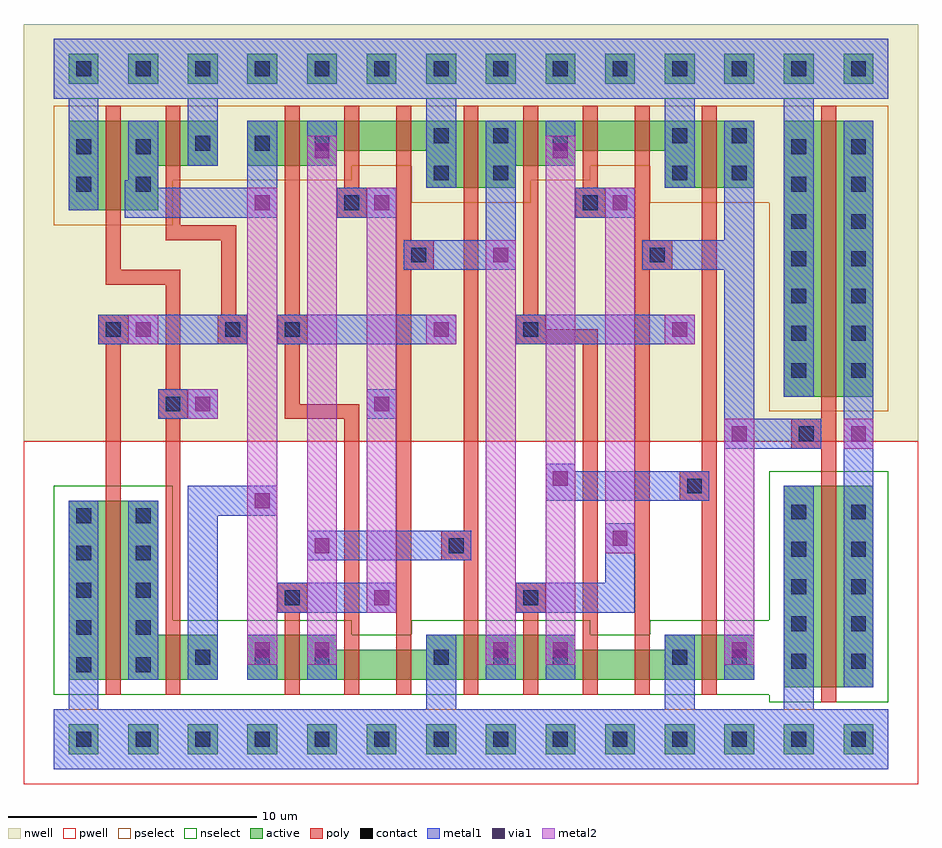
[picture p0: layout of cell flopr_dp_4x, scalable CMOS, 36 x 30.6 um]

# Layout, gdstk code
import gdstk
lib = gdstk.Library(unit=1e-6, precision=1e-09)
def R(c, l, rs):  # rectangles x0, y0, x1, y1
    for r in rs: c.add(gdstk.rectangle(r[:2], r[2:], *l))
def A(c, l, x, y, w, h, nx, ny, dx, dy):  # array of equal rectangles
    R(c, l, [(x+i*dx, y+j*dy, x+i*dx+w, y+j*dy+h) for i in range(nx) for j in range(ny)])
contact = (25, 0)
pwell = (41, 0)
nwell = (42, 0)
active = (43, 0)
pselect = (44, 0)
nselect = (45, 0)
poly = (46, 0)
metal1 = (49, 0)
via1 = (50, 0)
metal2 = (51, 0)

flopr_dp_4x = lib.new_cell('flopr_dp_4x')
A(flopr_dp_4x, contact, 9.9, -0.3, 0.6, 0.6, 14, 2, 2.4, 27)
A(flopr_dp_4x, contact, 9.9, 2.7, 0.6, 0.6, 1, 5, 0, 1.5)
A(flopr_dp_4x, contact, 12.3, 2.7, 0.6, 0.6, 1, 5, 0, 1.5)
A(flopr_dp_4x, contact, 38.7, 2.85, 0.6, 0.6, 1, 5, 0, 1.5)
A(flopr_dp_4x, contact, 41.1, 2.85, 0.6, 0.6, 1, 5, 0, 1.5)
A(flopr_dp_4x, contact, 14.7, 3, 0.6, 0.6, 3, 2, 2.4, 20.7)
A(flopr_dp_4x, contact, 24.3, 3, 0.6, 0.6, 3, 1, 2.4, 0)
A(flopr_dp_4x, contact, 38.7, 14.55, 0.6, 0.6, 1, 7, 0, 1.5)
A(flopr_dp_4x, contact, 41.1, 14.55, 0.6, 0.6, 1, 7, 0, 1.5)
R(flopr_dp_4x, contact, [(33.9,3,34.5,3.6), (36.3,3,36.9,3.6), (18.3,5.4,18.9,6), (27.9,5.4,28.5,6), (24.9,7.5,25.5,8.1), (34.5,9.9,35.1,10.5), (39,12,39.6,12.6), (13.5,13.2,14.1,13.8), (11.1,16.2,11.7,16.8), (15.9,16.2,16.5,16.8), (18.3,16.2,18.9,16.8), (27.9,16.2,28.5,16.8), (23.4,19.2,24,19.8), (33,19.2,33.6,19.8), (20.7,21.3,21.3,21.9), (30.3,21.3,30.9,21.9), (9.9,22.05,10.5,22.65), (12.3,22.05,12.9,22.65), (24.3,22.5,24.9,23.1), (26.7,22.5,27.3,23.1), (33.9,22.5,34.5,23.1), (36.3,22.5,36.9,23.1), (9.9,23.55,10.5,24.15), (12.3,23.55,12.9,24.15), (29.1,23.7,29.7,24.3), (24.3,24,24.9,24.6), (26.7,24,27.3,24.6), (33.9,24,34.5,24.6), (36.3,24,36.9,24.6)])
A(flopr_dp_4x, pwell, 8.7, -1.5, 3, 3, 14, 1, 2.4, 0)
A(flopr_dp_4x, pwell, 12.6, 0.6, 4.8, 5.4, 3, 1, 2.4, 0)
A(flopr_dp_4x, pwell, 22.2, 0.6, 4.8, 5.4, 3, 1, 2.4, 0)
R(flopr_dp_4x, pwell, [(7.8,-1.8,43.8,12), (36.6,0.3,41.4,12), (37.2,0.3,43.2,12), (39,0.3,43.8,12), (7.8,0.6,12.6,11.4), (8.4,0.6,14.4,11.4), (10.2,0.6,15,11.4), (10.8,0.6,16.8,6), (15.6,0.6,21.6,6), (18,0.6,24,5.4), (20.1,0.6,26.1,5.4), (22.8,0.6,28.8,6), (25.2,0.6,31.2,6), (27.6,0.6,33.6,5.4), (29.7,0.6,35.7,5.4), (31.8,0.6,36.6,6), (32.4,0.6,38.4,6), (34.2,0.6,39,6), (17.475,0.75,22.125,5.25), (19.725,0.75,24.375,5.25), (21.975,0.75,26.85,5.25), (27.075,0.75,31.725,5.25), (29.325,0.75,33.975,5.25), (31.575,0.9,36.45,5.4), (17.475,1.05,22.05,5.55), (24.675,1.05,29.25,5.55), (24.675,1.05,29.325,5.55), (27.075,1.05,31.65,5.55), (15.15,1.35,19.725,5.85), (31.95,1.35,36.525,5.85), (34.275,1.35,38.85,5.85), (10.35,1.5,14.925,6), (12.675,1.5,17.25,6), (22.35,1.5,26.925,6), (36.75,1.5,41.325,6), (39.075,1.5,43.65,6), (7.95,3.75,12.525,8.25), (10.275,4.05,14.85,8.55)])
A(flopr_dp_4x, nwell, 12.6, 21.3, 4.8, 5.4, 3, 1, 2.4, 0)
A(flopr_dp_4x, nwell, 8.7, 25.5, 3, 3, 14, 1, 2.4, 0)
R(flopr_dp_4x, nwell, [(7.8,12,43.8,28.8), (36.6,12,41.4,26.7), (37.2,12,43.2,26.7), (39,12,43.8,26.7), (7.8,19.5,12.6,26.7), (8.4,19.5,14.4,26.7), (10.2,19.5,15,26.7), (22.2,20.4,27,26.7), (22.8,20.4,28.8,26.7), (24.6,20.4,29.4,26.7), (31.8,20.4,36.6,26.7), (32.4,20.4,38.4,26.7), (34.2,20.4,39,26.7), (36.75,20.4,41.325,24.9), (39.075,20.532,43.65,25.032), (7.95,20.55,12.525,25.05), (10.2,21,14.775,25.5), (34.275,21.15,38.85,25.65), (10.35,21.3,14.925,25.8), (10.8,21.3,16.8,26.7), (12.675,21.3,17.25,25.8), (15.6,21.3,21.6,26.7), (24.675,21.3,29.325,25.8), (25.2,21.3,31.2,26.7), (27,21.3,31.8,26.7), (24.675,21.75,29.25,26.25), (27.075,21.75,31.65,26.25), (18,21.9,24,26.7), (20.1,21.9,26.1,26.7), (21.975,21.9,26.925,26.4), (24.75,21.9,29.325,26.4), (27.6,21.9,33.6,26.7), (29.7,21.9,35.7,26.7), (31.575,21.9,36.525,26.4), (17.475,22.05,22.05,26.55), (19.725,22.05,24.375,26.55), (21.975,22.05,26.85,26.55), (27.075,22.05,31.725,26.55), (29.325,22.05,33.975,26.55), (31.575,22.05,36.45,26.55), (15.15,22.2,19.725,26.7), (17.475,22.2,22.125,26.7)])
A(flopr_dp_4x, active, 9.6, -0.6, 1.2, 1.2, 14, 2, 2.4, 27)
A(flopr_dp_4x, active, 14.4, 2.4, 1.2, 1.8, 3, 2, 2.4, 20.7)
A(flopr_dp_4x, active, 24, 2.4, 1.2, 1.8, 3, 1, 2.4, 0)
R(flopr_dp_4x, active, [(38.4,2.1,39.6,10.2), (39,2.1,41.4,10.2), (40.8,2.1,42,10.2), (9.6,2.4,10.8,9.6), (10.2,2.4,12.6,9.6), (12,2.4,13.2,9.6), (12.6,2.4,15,4.2), (17.4,2.4,19.8,4.2), (19.8,2.4,22.2,3.6), (21.9,2.4,24.3,3.6), (24.6,2.4,27,4.2), (27,2.4,29.4,4.2), (29.4,2.4,31.8,3.6), (31.5,2.4,33.9,3.6), (33.6,2.4,34.8,4.2), (34.2,2.4,36.6,4.2), (36,2.4,37.2,4.2), (19.275,2.55,20.325,3.45), (21.525,2.55,22.575,3.45), (23.775,2.55,25.05,3.45), (28.875,2.55,29.925,3.45), (31.125,2.55,32.175,3.45), (33.375,2.7,34.65,3.6), (19.275,2.85,20.25,3.75), (26.475,2.85,27.45,3.75), (26.475,2.85,27.525,3.75), (28.875,2.85,29.85,3.75), (16.95,3.15,17.925,4.05), (33.75,3.15,34.725,4.05), (36.075,3.15,37.05,4.05), (12.15,3.3,13.125,4.2), (14.475,3.3,15.45,4.2), (24.15,3.3,25.125,4.2), (38.55,3.3,39.525,4.2), (40.875,3.3,41.85,4.2), (9.75,5.55,10.725,6.45), (12.075,5.85,13.05,6.75), (38.4,13.8,39.6,24.9), (39,13.8,41.4,24.9), (40.8,13.8,42,24.9), (9.6,21.3,10.8,24.9), (10.2,21.3,12.6,24.9), (12,21.3,13.2,24.9), (24,22.2,25.2,24.9), (24.6,22.2,27,24.9), (26.4,22.2,27.6,24.9), (33.6,22.2,34.8,24.9), (34.2,22.2,36.6,24.9), (36,22.2,37.2,24.9), (38.55,22.2,39.525,23.1), (40.875,22.332,41.85,23.232), (9.75,22.35,10.725,23.25), (12,22.8,12.975,23.7), (36.075,22.95,37.05,23.85), (12.15,23.1,13.125,24), (12.6,23.1,15,24.9), (14.475,23.1,15.45,24), (17.4,23.1,19.8,24.9), (26.475,23.1,27.525,24), (27,23.1,29.4,24.9), (28.8,23.1,30,24.9), (26.475,23.55,27.45,24.45), (28.875,23.55,29.85,24.45), (19.8,23.7,22.2,24.9), (21.9,23.7,24.3,24.9), (23.775,23.7,25.125,24.6), (26.55,23.7,27.525,24.6), (29.4,23.7,31.8,24.9), (31.5,23.7,33.9,24.9), (33.375,23.7,34.725,24.6), (19.275,23.85,20.25,24.75), (21.525,23.85,22.575,24.75), (23.775,23.85,25.05,24.75), (28.875,23.85,29.925,24.75), (31.125,23.85,32.175,24.75), (33.375,23.85,34.65,24.75), (16.95,24,17.925,24.9), (19.275,24,20.325,24.9)])
A(flopr_dp_4x, pselect, 9, -1.2, 2.4, 2.4, 14, 1, 2.4, 0)
A(flopr_dp_4x, pselect, 13.8, 22.5, 2.4, 3, 3, 1, 2.4, 0)
R(flopr_dp_4x, pselect, [(37.8,13.2,40.2,25.5), (38.4,13.2,42,25.5), (40.2,13.2,42.6,25.5), (9,20.7,11.4,25.5), (9.6,20.7,13.2,25.5), (11.4,20.7,13.8,25.5), (23.4,21.6,25.8,25.5), (24,21.6,27.6,25.5), (25.8,21.6,28.2,25.5), (33,21.6,35.4,25.5), (33.6,21.6,37.2,25.5), (35.4,21.6,37.8,25.5), (37.95,21.6,40.125,23.7), (40.275,21.732,42.45,23.832), (9.15,21.75,11.325,23.85), (11.4,22.2,13.575,24.3), (35.475,22.35,37.65,24.45), (11.55,22.5,13.725,24.6), (12,22.5,15.6,25.5), (13.875,22.5,16.05,24.6), (16.8,22.5,20.4,25.5), (25.875,22.5,28.125,24.6), (26.4,22.5,30,25.5), (28.2,22.5,30.6,25.5), (25.875,22.95,28.05,25.05), (28.275,22.95,30.45,25.05), (19.2,23.1,22.8,25.5), (21.3,23.1,24.9,25.5), (23.175,23.1,25.725,25.2), (25.95,23.1,28.125,25.2), (28.8,23.1,32.4,25.5), (30.9,23.1,34.5,25.5), (32.775,23.1,35.325,25.2), (18.675,23.25,20.85,25.35), (20.925,23.25,23.175,25.35), (23.175,23.25,25.65,25.35), (28.275,23.25,30.525,25.35), (30.525,23.25,32.775,25.35), (32.775,23.25,35.25,25.35), (16.35,23.4,18.525,25.5), (18.675,23.4,20.925,25.5)])
A(flopr_dp_4x, nselect, 13.8, 1.8, 2.4, 3, 3, 1, 2.4, 0)
A(flopr_dp_4x, nselect, 23.4, 1.8, 2.4, 3, 3, 1, 2.4, 0)
A(flopr_dp_4x, nselect, 9, 25.8, 2.4, 2.4, 14, 1, 2.4, 0)
R(flopr_dp_4x, nselect, [(37.8,1.5,40.2,10.8), (38.4,1.5,42,10.8), (40.2,1.5,42.6,10.8), (9,1.8,11.4,10.2), (9.6,1.8,13.2,10.2), (11.4,1.8,13.8,10.2), (12,1.8,15.6,4.8), (16.8,1.8,20.4,4.8), (19.2,1.8,22.8,4.2), (21.3,1.8,24.9,4.2), (24,1.8,27.6,4.8), (26.4,1.8,30,4.8), (28.8,1.8,32.4,4.2), (30.9,1.8,34.5,4.2), (33,1.8,35.4,4.8), (33.6,1.8,37.2,4.8), (35.4,1.8,37.8,4.8), (18.675,1.95,20.925,4.05), (20.925,1.95,23.175,4.05), (23.175,1.95,25.65,4.05), (28.275,1.95,30.525,4.05), (30.525,1.95,32.775,4.05), (32.775,2.1,35.25,4.2), (18.675,2.25,20.85,4.35), (25.875,2.25,28.05,4.35), (25.875,2.25,28.125,4.35), (28.275,2.25,30.45,4.35), (16.35,2.55,18.525,4.65), (33.15,2.55,35.325,4.65), (35.475,2.55,37.65,4.65), (11.55,2.7,13.725,4.8), (13.875,2.7,16.05,4.8), (23.55,2.7,25.725,4.8), (37.95,2.7,40.125,4.8), (40.275,2.7,42.45,4.8), (9.15,4.95,11.325,7.05), (11.475,5.25,13.65,7.35)])
R(flopr_dp_4x, poly, [(39.9,1.5,40.5,10.8), (11.1,1.8,11.7,10.2), (13.5,1.8,14.1,4.8), (18.3,1.8,18.9,4.8), (20.7,1.8,21.3,4.2), (22.8,1.8,23.4,4.2), (25.5,1.8,26.1,4.8), (27.9,1.8,28.5,4.8), (30.3,1.8,30.9,4.2), (32.4,1.8,33,4.2), (35.1,1.8,35.7,4.8), (20.7,3.9,21.3,13.5), (22.8,3.9,23.4,19.8), (30.3,3.9,30.9,16.5), (32.4,3.9,33,19.8), (13.5,4.5,14.1,13.8), (18.3,4.5,18.9,6), (25.5,4.5,26.1,8.1), (27.9,4.5,28.5,6), (35.1,4.5,35.7,10.5), (18,5.1,19.2,6.3), (27.6,5.1,28.8,6.3), (24.6,7.2,25.8,8.4), (24.9,7.5,26.1,8.1), (25.5,7.5,26.1,21.9), (34.2,9.6,35.4,10.8), (11.1,9.9,11.7,16.8), (34.5,9.9,35.7,10.5), (35.1,9.9,35.7,21.9), (39.9,10.5,40.5,12.6), (38.7,11.7,39.9,12.9), (39,12,40.5,12.6), (39.9,12,40.5,13.5), (13.2,12.9,14.4,14.1), (18.3,12.9,21.3,13.5), (18.3,12.9,18.9,16.8), (18.3,12.9,18.9,22.8), (13.5,13.2,14.1,18.9), (39.9,13.2,40.5,25.5), (10.8,15.9,12,17.1), (15.6,15.9,16.8,17.1), (18,15.9,19.2,17.1), (27.6,15.9,28.8,17.1), (27.9,15.9,30.9,16.5), (27.9,15.9,28.5,16.8), (15.75,16.2,16.35,20.7), (27.9,16.2,28.5,22.8), (11.1,18.3,11.7,21), (11.1,18.3,14.1,18.9), (23.1,18.9,24.3,20.1), (32.7,18.9,33.9,20.1), (22.8,19.2,24,19.8), (22.8,19.2,23.4,23.4), (32.4,19.2,33.6,19.8), (32.4,19.2,33,23.4), (13.5,20.1,14.1,22.8), (13.5,20.1,16.35,20.7), (11.1,20.7,11.7,25.5), (20.4,21,21.6,22.2), (30,21,31.2,22.2), (20.7,21.3,21.3,23.4), (30.3,21.3,30.9,23.4), (25.5,21.6,26.1,25.5), (35.1,21.6,35.7,25.5), (13.5,22.5,14.1,25.5), (18.3,22.5,18.9,25.5), (27.9,22.5,28.5,25.5), (20.7,23.1,21.3,25.5), (22.8,23.1,23.4,25.5), (30.3,23.1,30.9,25.5), (32.4,23.1,33,25.5)])
A(flopr_dp_4x, metal1, 9, -1.2, 4.8, 2.4, 6, 1, 2.4, 0)
A(flopr_dp_4x, metal1, 21, -1.2, 4.8, 2.4, 8, 1, 2.4, 0)
A(flopr_dp_4x, metal1, 9.6, -0.6, 1.2, 1.2, 13, 1, 2.4, 0)
A(flopr_dp_4x, metal1, 14.4, 2.4, 1.2, 1.8, 3, 2, 2.4, 20.7)
A(flopr_dp_4x, metal1, 24, 2.4, 1.2, 1.8, 3, 1, 2.4, 0)
A(flopr_dp_4x, metal1, 14.4, 23.7, 1.2, 3.9, 3, 1, 9.6, 0)
A(flopr_dp_4x, metal1, 11.4, 25.8, 4.8, 2.4, 5, 1, 2.4, 0)
A(flopr_dp_4x, metal1, 28.2, 25.8, 4.8, 2.4, 5, 1, 2.4, 0)
A(flopr_dp_4x, metal1, 9.6, 26.4, 1.2, 1.2, 11, 1, 2.4, 0)
A(flopr_dp_4x, metal1, 33.6, 26.4, 1.2, 1.2, 3, 1, 2.4, 0)
R(flopr_dp_4x, metal1, [(13.8,-1.2,16.8,1.2), (18.6,-1.2,33,1.2), (23.4,-1.2,34.2,1.2), (33.6,-0.9,34.8,0.6), (33.6,-0.9,34.8,3.6), (24,-0.6,25.2,3.6), (38.4,-0.6,39.6,0.6), (40.8,-0.6,42,0.6), (9.6,-0.45,10.8,3.6), (38.4,-0.45,39.6,3.6), (38.4,2.1,39.6,10.2), (40.8,2.1,42,10.2), (9.6,2.4,10.8,9.6), (12,2.4,13.2,9.6), (33.6,2.4,34.8,4.2), (36,2.4,37.2,4.2), (19.2,2.7,20.4,4.2), (16.8,3,18,4.2), (16.8,3,18,4.2), (19.2,3,20.4,4.2), (26.4,3,27.6,4.2), (26.4,3,27.6,4.2), (28.8,3,30,4.2), (28.8,3,30,4.2), (36,3,37.2,4.2), (36,3,37.2,4.2), (14.4,3.15,15.6,10.2), (18,5.1,19.2,6.3), (18,5.1,22.8,6.3), (21.6,5.1,22.8,6.3), (27.6,5.1,28.8,6.3), (27.6,5.1,32.4,6.3), (31.2,5.1,32.4,8.7), (19.2,7.2,20.4,8.4), (19.2,7.2,25.8,8.4), (24.6,7.2,25.8,8.4), (31.2,7.5,32.4,8.7), (14.4,9,18,10.2), (16.8,9,18,10.2), (40.8,9.15,42,12.9), (28.8,9.6,35.4,10.8), (34.2,9.6,35.4,10.8), (28.8,9.9,30,11.1), (36,11.7,37.2,12.9), (36,11.7,37.2,20.1), (36.3,11.7,39.9,12.9), (38.7,11.7,39.9,12.9), (40.8,11.7,42,12.9), (40.8,11.7,42,23.1), (13.2,12.9,14.4,14.1), (13.2,12.9,15.6,14.1), (14.4,12.9,15.6,14.1), (21.6,12.9,22.8,14.1), (38.4,13.8,39.6,24.9), (40.8,13.8,42,24.9), (10.8,15.9,12,17.1), (10.8,15.9,13.2,17.1), (10.8,15.9,16.65,17.1), (12,15.9,13.2,17.1), (15.6,15.9,16.8,17.1), (18,15.9,19.2,17.1), (18,15.9,24.9,17.1), (24,15.9,25.2,17.1), (27.6,15.9,28.8,17.1), (27.6,15.9,34.8,17.1), (33.6,15.9,34.8,17.1), (23.1,18.9,24.3,20.1), (23.1,18.9,27.6,20.1), (26.4,18.9,27.6,20.1), (26.4,18.9,27.6,23.25), (32.7,18.9,33.9,20.1), (32.7,18.9,37.2,20.1), (36,18.9,37.2,23.25), (11.85,21,18,22.2), (11.85,21,13.05,22.5), (16.8,21,18,22.2), (16.8,21,18,24.15), (20.4,21,21.6,22.2), (20.4,21,22.8,22.2), (21.6,21,22.8,22.2), (30,21,31.2,22.2), (30,21,32.4,22.2), (31.2,21,32.4,22.2), (9.6,21.3,10.8,24.9), (12,21.3,13.2,24.9), (24,22.2,25.2,24.9), (26.4,22.2,27.6,24.9), (33.6,22.2,34.8,24.9), (36,22.2,37.2,24.9), (19.2,23.1,20.4,24.3), (19.2,23.1,20.4,24.3), (28.8,23.1,30,24.9), (28.8,23.1,30,24.3), (28.8,23.1,30,24.3), (38.4,23.4,39.6,27.6), (9.6,23.7,10.8,27.6), (9,25.8,16.2,28.2), (14.4,25.8,18.6,28.2), (18.6,25.8,30.6,28.2), (23.4,25.8,29.7,28.2), (25.8,25.8,29.7,28.2), (27.3,25.8,30.6,28.2), (9.6,26.4,10.8,27.6), (9.6,26.4,10.8,27.6), (38.4,26.4,39.6,27.6), (40.8,26.4,42,27.6)])
R(flopr_dp_4x, via1, [(17.1,3.3,17.7,3.9), (19.5,3.3,20.1,3.9), (26.7,3.3,27.3,3.9), (29.1,3.3,29.7,3.9), (36.3,3.3,36.9,3.9), (21.9,5.4,22.5,6), (19.5,7.5,20.1,8.1), (31.5,7.8,32.1,8.4), (17.1,9.3,17.7,9.9), (29.1,10.2,29.7,10.8), (36.3,12,36.9,12.6), (41.1,12,41.7,12.6), (14.7,13.2,15.3,13.8), (21.9,13.2,22.5,13.8), (12.3,16.2,12.9,16.8), (24.3,16.2,24.9,16.8), (33.9,16.2,34.5,16.8), (26.7,19.2,27.3,19.8), (17.1,21.3,17.7,21.9), (21.9,21.3,22.5,21.9), (31.5,21.3,32.1,21.9), (19.5,23.4,20.1,24), (29.1,23.4,29.7,24)])
R(flopr_dp_4x, metal2, [(16.8,3,18,4.2), (16.8,3,18,10.2), (19.2,3,20.4,4.2), (26.4,3,27.6,4.2), (26.4,3,27.6,20.1), (28.8,3,30,4.2), (28.8,3,30,10.8), (36,3,37.2,4.2), (36,3,37.2,12.9), (19.2,3.3,20.4,8.4), (21.6,5.1,22.8,6.3), (21.6,5.1,22.8,14.4), (19.2,7.2,20.4,8.4), (19.2,7.2,20.4,24.3), (31.2,7.5,32.4,8.7), (31.2,7.5,32.4,22.2), (16.8,9,18,10.2), (16.8,9,18,22.2), (28.8,9.6,30,24.3), (28.8,9.9,30,11.1), (36,11.7,37.2,12.9), (40.8,11.7,42,12.9), (14.4,12.9,15.6,14.1), (21.6,12.9,22.8,14.1), (21.6,13.2,22.8,22.2), (12,15.9,13.2,17.1), (24,15.9,25.2,17.1), (33.6,15.9,34.8,17.1), (26.4,18.9,27.6,20.1), (16.8,21,18,22.2), (21.6,21,22.8,22.2), (31.2,21,32.4,22.2), (19.2,23.1,20.4,24.3), (28.8,23.1,30,24.3)])

lib.write_gds('flopr_dp_4x.gds')
